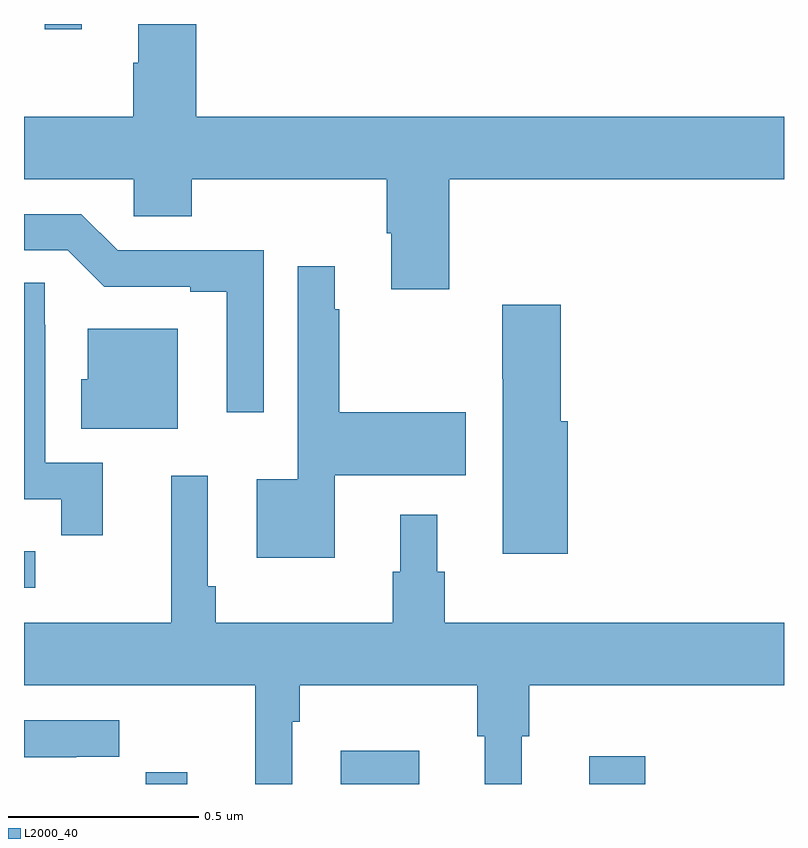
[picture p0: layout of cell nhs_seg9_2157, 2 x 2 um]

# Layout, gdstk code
import gdstk
lib = gdstk.Library(unit=1e-6, precision=1e-09)
def R(c, l, rs):  # rectangles x0, y0, x1, y1
    for r in rs: c.add(gdstk.rectangle(r[:2], r[2:], *l))
def P(c, l, *ps):  # polygons
    for p in ps: c.add(gdstk.Polygon(p, *l))
L2000_40 = (2000, 40)

nhs_seg9_2157 = lib.new_cell('nhs_seg9_2157')
R(nhs_seg9_2157, L2000_40, [(137.32,1189.5,137.429,1189.531), (137.834,1189.5,138.04,1189.588), (138.488,1189.5,138.635,1189.573), (137,1190.016,137.029,1190.112), (137.055,1191.486,137.152,1191.5)])
P(nhs_seg9_2157, L2000_40, [(138.119,1191.092),(139,1191.092),(139,1191.256),(137.453,1191.256),(137.453,1191.5),(137.3,1191.5),(137.3,1191.398),(137.288,1191.398),(137.288,1191.256),(137,1191.256),(137,1191.092),(137.289,1191.092),(137.289,1190.994),(137.441,1190.994),(137.441,1191.092),(137.954,1191.092),(137.954,1190.95),(137.966,1190.95),(137.966,1190.802),(138.119,1190.802)],
  [(137.631,1190.904),(137.247,1190.904),(137.151,1191),(137,1191),(137,1190.904),(137.115,1190.904),(137.211,1190.808),(137.438,1190.808),(137.438,1190.796),(137.534,1190.796),(137.534,1190.478),(137.631,1190.478)],
  [(137.818,1190.312),(138.163,1190.312),(138.163,1190.478),(137.83,1190.478),(137.83,1190.75),(137.818,1190.75),(137.818,1190.863),(137.721,1190.863),(137.721,1190.302),(137.612,1190.302),(137.612,1190.096),(137.818,1190.096)],
  [(137.207,1190.346),(137.056,1190.346),(137.056,1190.708),(137.055,1190.708),(137.055,1190.819),(137,1190.819),(137,1190.25),(137.098,1190.25),(137.098,1190.154),(137.207,1190.154)],
  [(138.431,1190.454),(138.413,1190.454),(138.413,1190.761),(138.259,1190.761),(138.259,1190.566),(138.26,1190.566),(138.26,1190.106),(138.431,1190.106)],
  [(137.404,1190.698),(137.168,1190.698),(137.168,1190.565),(137.15,1190.565),(137.15,1190.435),(137.404,1190.435)],
  [(137.706,1189.664),(137.726,1189.664),(137.726,1189.76),(138.193,1189.76),(138.193,1189.626),(138.212,1189.626),(138.212,1189.5),(138.31,1189.5),(138.31,1189.626),(138.329,1189.626),(138.329,1189.76),(139,1189.76),(139,1189.924),(138.107,1189.924),(138.107,1190.058),(138.088,1190.058),(138.088,1190.209),(137.99,1190.209),(137.99,1190.058),(137.971,1190.058),(137.971,1189.924),(137.504,1189.924),(137.504,1190.02),(137.484,1190.02),(137.484,1190.311),(137.387,1190.311),(137.387,1189.924),(137,1189.924),(137,1189.76),(137.609,1189.76),(137.609,1189.5),(137.706,1189.5)],
  [(137.138,1189.572),(137.251,1189.572),(137.251,1189.668),(137,1189.668),(137,1189.571),(137.138,1189.571)])

lib.write_gds('nhs_seg9_2157.gds')
